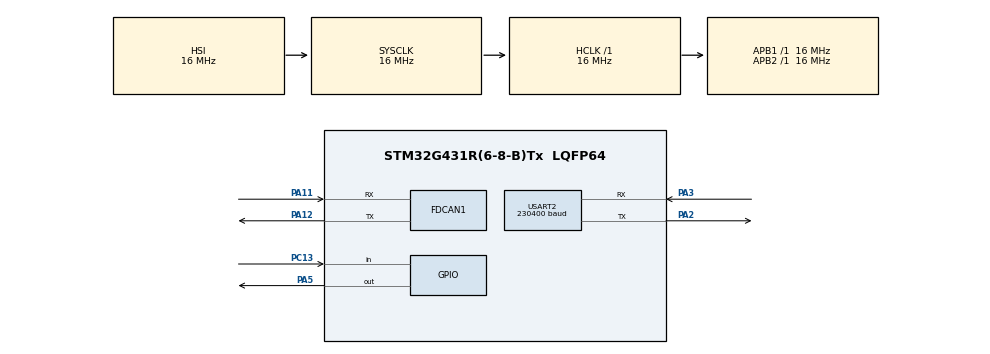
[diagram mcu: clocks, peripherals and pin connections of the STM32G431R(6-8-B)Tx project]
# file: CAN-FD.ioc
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FDCAN1.AutoRetransmission=DISABLE
FDCAN1.CalculateBaudRateNominal=500000
FDCAN1.CalculateTimeBitNominal=2000
FDCAN1.CalculateTimeQuantumNominal=62.5
FDCAN1.DataPrescaler=1
FDCAN1.DataSyncJumpWidth=3
FDCAN1.DataTimeSeg1=4
FDCAN1.DataTimeSeg2=3
FDCAN1.FrameFormat=FDCAN_FRAME_FD_BRS
FDCAN1.Mode=FDCAN_MODE_NORMAL
FDCAN1.NominalPrescaler=1
FDCAN1.NominalSyncJumpWidth=6
FDCAN1.NominalTimeSeg1=25
FDCAN1.NominalTimeSeg2=6
FDCAN1.ProtocolException=DISABLE
FDCAN1.StdFiltersNbr=1
FDCAN1.TransmitPause=DISABLE
FDCAN1.TxFifoQueueMode=FDCAN_TX_FIFO_OPERATION
Mcu.Family=STM32G4
Mcu.Name=STM32G431R(6-8-B)Tx
Mcu.Package=LQFP64
NVIC.FDCAN1_IT0_IRQn=true\:0\:0\:false\:false\:true\:true\:true\:true
NVIC.PriorityGroup=NVIC_PRIORITYGROUP_4
NVIC.USART2_IRQn=true\:0\:0\:false\:false\:true\:true\:true\:true
PA11.Mode=FDCAN_Activate
PA11.Signal=FDCAN1_RX
PA12.Mode=FDCAN_Activate
PA12.Signal=FDCAN1_TX
PA2.Mode=Asynchronous
PA2.Signal=USART2_TX
PA3.Mode=Asynchronous
PA3.Signal=USART2_RX
PA5.Signal=GPIO_Output
PC13.Signal=GPIO_Input
PF0-OSC_IN.Mode=HSE-External-Oscillator
PF0-OSC_IN.Signal=RCC_OSC_IN
PF1-OSC_OUT.Mode=HSE-External-Oscillator
PF1-OSC_OUT.Signal=RCC_OSC_OUT
ProjectManager.HeapSize=0x200
ProjectManager.StackSize=0x400
ProjectManager.TargetToolchain=STM32CubeIDE
RCC.ADC12Freq_Value=16000000
RCC.AHBFreq_Value=16000000
RCC.APB1Freq_Value=16000000
RCC.APB1TimFreq_Value=16000000
RCC.APB2Freq_Value=16000000
RCC.APB2TimFreq_Value=16000000
RCC.CortexFreq_Value=16000000
RCC.EXTERNAL_CLOCK_VALUE=12288000
RCC.HCLKFreq_Value=16000000
RCC.HSE_VALUE=24000000
RCC.HSI48_VALUE=48000000
RCC.HSI_VALUE=16000000
RCC.LSE_VALUE=32768
RCC.PLLQ=RCC_PLLQ_DIV4
RCC.RTCClockSelection=RCC_RTCCLKSOURCE_LSE
RCC.SYSCLKFreq_VALUE=16000000
RCC.USBFreq_Value=32000000
RCC.VCOOutputFreq_Value=128000000
USART2.BaudRate=230400
USART2.FIFOMode=FIFOMODE_ENABLE
USART2.VirtualMode-Asynchronous=VM_ASYNC
VP_SYS_VS_DBSignals.Mode=DisableDeadBatterySignals
board=NUCLEO-G431RB

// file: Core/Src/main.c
/* USER CODE BEGIN Header */
/**
  ******************************************************************************
  * @file           : main.c
  * @brief          : Main program body
  ******************************************************************************
  * @attention
  *
  * Copyright (c) 2025 STMicroelectronics.
  * All rights reserved.
  *
  * This software is licensed under terms that can be found in the LICENSE file
  * in the root directory of this software component.
  * If no LICENSE file comes with this software, it is provided AS-IS.
  *
  ******************************************************************************
  */
/* USER CODE END Header */
#include "main.h"

/* USER CODE BEGIN Includes */
#include <stdio.h>
#include <string.h>
#include <stdlib.h>
/* USER CODE END Includes */

FDCAN_HandleTypeDef hfdcan1;

UART_HandleTypeDef huart2;

/* USER CODE BEGIN PV */
//UART Variable
uint8_t* received_buffer = NULL ;  // Buffer de stockage
uint8_t received_data;
uint8_t my_index = 0;

// Variable TX_CANFD
FDCAN_FilterTypeDef sFilterConfig;
FDCAN_TxHeaderTypeDef TxHeader;
HAL_FDCAN_StateTypeDef myCanState;
HAL_StatusTypeDef myState;
#define MAX_TXDATA_SIZE 64

// variable FDCAN_RxFifo0Callback
uint8_t messageIndex = 0;
FDCAN_RxHeaderTypeDef RxHeader;
uint8_t RxData[64];
#define MAX_MESSAGES 2  // Taille maximale du tableau pour stocker les messages

// variable Process_Command
char param[20];
char value_str[50];  // Read the value as a string
int value = 0;
uint16_t temp_id;

//variable send_Frame
char id_str[4] = {0};
uint32_t Tx_identifier;

//variable pour Extract_Data_Until_CR
uint8_t TxData[MAX_TXDATA_SIZE] = {0};
char hex_pair[3] = {0};

//variable RX_identifier
char id_Rx[4] = {0};
uint32_t Rx_identifier;
char ID;
/* USER CODE END PV */

void SystemClock_Config(void);
static void MX_GPIO_Init(void);
static void MX_FDCAN1_Init(void);
static void MX_USART2_UART_Init(void);
/* USER CODE BEGIN PFP */
void Process_Command(char *command);
void UART_Send_Response(char *response);
void send_Frame(uint8_t *Frame);
void Extract_Data_Until_CR(uint8_t *Frame);
void SET_RXHeader(uint16_t ID);
/* USER CODE END PFP */

/* USER CODE BEGIN 0 */
// Structure pour stocker les messages reçus
typedef struct {
    uint16_t Identifier;  // Identifiant du message
    uint8_t Data[64];      // Données du message (8 octets)
} FDCAN_Message;
FDCAN_Message receivedMessages[MAX_MESSAGES];

/* USER CODE END 0 */

int main(void)
{

  /* MCU Configuration--------------------------------------------------------*/

  /* Reset of all peripherals, Initializes the Flash interface and the Systick. */
  HAL_Init();

  /* Configure the system clock */
  SystemClock_Config();

  /* Initialize all configured peripherals */
  MX_GPIO_Init();
  MX_FDCAN1_Init();
  MX_USART2_UART_Init();
  /* USER CODE BEGIN 2 */
  HAL_UART_Receive_IT(&huart2, &received_data, 1);
  myCanState = HAL_FDCAN_GetState(&hfdcan1);
  /* USER CODE END 2 */

  /* Infinite loop */
  while (1)
  {

  }
}

void SystemClock_Config(void)
{
  RCC_OscInitTypeDef RCC_OscInitStruct = {0};
  RCC_ClkInitTypeDef RCC_ClkInitStruct = {0};

  /** Configure the main internal regulator output voltage
  */
  HAL_PWREx_ControlVoltageScaling(PWR_REGULATOR_VOLTAGE_SCALE1);

  /** Initializes the RCC Oscillators according to the specified parameters
  * in the RCC_OscInitTypeDef structure.
  */
  RCC_OscInitStruct.OscillatorType = RCC_OSCILLATORTYPE_HSI;
  RCC_OscInitStruct.HSIState = RCC_HSI_ON;
  RCC_OscInitStruct.HSICalibrationValue = RCC_HSICALIBRATION_DEFAULT;
  RCC_OscInitStruct.PLL.PLLState = RCC_PLL_NONE;
  if (HAL_RCC_OscConfig(&RCC_OscInitStruct) != HAL_OK)
  {
    Error_Handler();
  }

  /** Initializes the CPU, AHB and APB buses clocks
  */
  RCC_ClkInitStruct.ClockType = RCC_CLOCKTYPE_HCLK|RCC_CLOCKTYPE_SYSCLK
                              |RCC_CLOCKTYPE_PCLK1|RCC_CLOCKTYPE_PCLK2;
  RCC_ClkInitStruct.SYSCLKSource = RCC_SYSCLKSOURCE_HSI;
  RCC_ClkInitStruct.AHBCLKDivider = RCC_SYSCLK_DIV1;
  RCC_ClkInitStruct.APB1CLKDivider = RCC_HCLK_DIV1;
  RCC_ClkInitStruct.APB2CLKDivider = RCC_HCLK_DIV1;

  if (HAL_RCC_ClockConfig(&RCC_ClkInitStruct, FLASH_LATENCY_0) != HAL_OK)
  {
    Error_Handler();
  }
}

static void MX_FDCAN1_Init(void)
{

  hfdcan1.Instance = FDCAN1;
  hfdcan1.Init.ClockDivider = FDCAN_CLOCK_DIV1;
  hfdcan1.Init.FrameFormat = FDCAN_FRAME_FD_BRS;
  hfdcan1.Init.Mode = FDCAN_MODE_NORMAL;
  hfdcan1.Init.AutoRetransmission = DISABLE;
  hfdcan1.Init.TransmitPause = DISABLE;
  hfdcan1.Init.ProtocolException = DISABLE;
  hfdcan1.Init.NominalPrescaler = 1;
  hfdcan1.Init.NominalSyncJumpWidth = 5;
  hfdcan1.Init.NominalTimeSeg1 = 24;
  hfdcan1.Init.NominalTimeSeg2 = 6;
  hfdcan1.Init.DataPrescaler = 1;
  hfdcan1.Init.DataSyncJumpWidth = 3;
  hfdcan1.Init.DataTimeSeg1 = 3;
  hfdcan1.Init.DataTimeSeg2 = 2;
  hfdcan1.Init.StdFiltersNbr = 1;
  hfdcan1.Init.ExtFiltersNbr = 0;
  hfdcan1.Init.TxFifoQueueMode = FDCAN_TX_FIFO_OPERATION;
  if (HAL_FDCAN_Init(&hfdcan1) != HAL_OK)
  {
    Error_Handler();
  }
  /* USER CODE BEGIN FDCAN1_Init 2 */

  TxHeader.Identifier = 0x7E2;  // ID de l'émetteur (STM32 avec ID 0x7E2)
  TxHeader.IdType = FDCAN_STANDARD_ID;
  TxHeader.TxFrameType = FDCAN_DATA_FRAME;
  TxHeader.DataLength = FDCAN_DLC_BYTES_64;  // DLC = 15 → 64 octets pour CAN FD
  TxHeader.ErrorStateIndicator = FDCAN_ESI_ACTIVE;
  TxHeader.BitRateSwitch = FDCAN_BRS_ON;  // Activation du Bit Rate Switching
  TxHeader.FDFormat = FDCAN_FD_CAN;
  TxHeader.TxEventFifoControl = FDCAN_NO_TX_EVENTS;
  TxHeader.MessageMarker = 0;

  /* Configure reception filter to Rx FIFO 0 on both FDCAN instances */
   sFilterConfig.IdType = FDCAN_STANDARD_ID;
   sFilterConfig.FilterIndex = 0;
   sFilterConfig.FilterType = FDCAN_FILTER_RANGE;
   sFilterConfig.FilterConfig = FDCAN_FILTER_TO_RXFIFO0;
   sFilterConfig.FilterID1 = 0x7EA;
   sFilterConfig.FilterID2 =  0x7FF;

   if(HAL_FDCAN_ConfigFilter(&hfdcan1, &sFilterConfig) != HAL_OK)
   	{
   		Error_Handler();
   	}

   	if(HAL_FDCAN_ConfigGlobalFilter(&hfdcan1, FDCAN_ACCEPT_IN_RX_FIFO0, FDCAN_REJECT, FDCAN_FILTER_REMOTE, FDCAN_FILTER_REMOTE) != HAL_OK)
   	{
   		Error_Handler();
   	}

   	if(HAL_FDCAN_Start(&hfdcan1) != HAL_OK)
   	{
   		Error_Handler();
   	}

   	//Cette ligne de code active une interruption qui se déclenchera lorsqu'un nouveau message est reçu dans RX FIFO0.
   	if(HAL_FDCAN_ActivateNotification(&hfdcan1, FDCAN_IT_RX_FIFO0_NEW_MESSAGE, 0) != HAL_OK)
   	{
   		Error_Handler();
   	}

  /* Activer l'interruption FDCAN dans le NVIC */
  HAL_NVIC_EnableIRQ(FDCAN1_IT0_IRQn);

  /* USER CODE END FDCAN1_Init 2 */

}

static void MX_USART2_UART_Init(void)
{

  huart2.Instance = USART2;
  huart2.Init.BaudRate = 230400;
  huart2.Init.WordLength = UART_WORDLENGTH_8B;
  huart2.Init.StopBits = UART_STOPBITS_1;
  huart2.Init.Parity = UART_PARITY_NONE;
  huart2.Init.Mode = UART_MODE_TX_RX;
  huart2.Init.HwFlowCtl = UART_HWCONTROL_NONE;
  huart2.Init.OverSampling = UART_OVERSAMPLING_16;
  huart2.Init.OneBitSampling = UART_ONE_BIT_SAMPLE_DISABLE;
  huart2.Init.ClockPrescaler = UART_PRESCALER_DIV1;
  huart2.AdvancedInit.AdvFeatureInit = UART_ADVFEATURE_NO_INIT;
  if (HAL_UART_Init(&huart2) != HAL_OK)
  {
    Error_Handler();
  }
  if (HAL_UARTEx_SetTxFifoThreshold(&huart2, UART_TXFIFO_THRESHOLD_1_8) != HAL_OK)
  {
    Error_Handler();
  }
  if (HAL_UARTEx_SetRxFifoThreshold(&huart2, UART_RXFIFO_THRESHOLD_1_8) != HAL_OK)
  {
    Error_Handler();
  }
  if (HAL_UARTEx_EnableFifoMode(&huart2) != HAL_OK)
  {
    Error_Handler();
  }

}

static void MX_GPIO_Init(void)
{
  GPIO_InitTypeDef GPIO_InitStruct = {0};

  /* GPIO Ports Clock Enable */
  __HAL_RCC_GPIOC_CLK_ENABLE();
  __HAL_RCC_GPIOF_CLK_ENABLE();
  __HAL_RCC_GPIOA_CLK_ENABLE();

  /*Configure GPIO pin Output Level */
  HAL_GPIO_WritePin(GPIOA, GPIO_PIN_5, GPIO_PIN_RESET);

  /*Configure GPIO pin : PC13 */
  GPIO_InitStruct.Pin = GPIO_PIN_13;
  GPIO_InitStruct.Mode = GPIO_MODE_INPUT;
  GPIO_InitStruct.Pull = GPIO_NOPULL;
  HAL_GPIO_Init(GPIOC, &GPIO_InitStruct);

  /*Configure GPIO pin : PA5 */
  GPIO_InitStruct.Pin = GPIO_PIN_5;
  GPIO_InitStruct.Mode = GPIO_MODE_OUTPUT_PP;
  GPIO_InitStruct.Pull = GPIO_NOPULL;
  GPIO_InitStruct.Speed = GPIO_SPEED_FREQ_LOW;
  HAL_GPIO_Init(GPIOA, &GPIO_InitStruct);

}

/* USER CODE BEGIN 4 */
void UART_Send_Response(char *response) {
    HAL_UART_Transmit(&huart2, (uint8_t*)response, strlen(response), HAL_MAX_DELAY);

}

void HAL_UART_RxCpltCallback(UART_HandleTypeDef *huart)
{
    if (huart->Instance == USART2)  // Vérifie que l'UART2 a reçu une donnée
    {
    	//Réallocation dynamique du buffer pour stocker la nouvelle donnée
    	        uint8_t* temp = (uint8_t*)realloc(received_buffer, my_index + 1);
    	        if (temp == NULL)  // Vérification de l'échec de l'allocation
    	        {
    	            HAL_UART_Transmit(&huart2, (uint8_t*)"Erreur mémoire\r\n", 16, HAL_MAX_DELAY);
    	            return;
    	        }
    	        received_buffer = temp;
        received_buffer[my_index++] = received_data;  // Stocker l'octet reçu
        // Vérifier si toute la trame est reçue
        if (received_data == '\r')
        {
        	if(received_buffer[0] == 'S')
        	{
        		 Process_Command((char*)received_buffer);
        		 myCanState = HAL_FDCAN_GetState(&hfdcan1);
        	}
        	else
        	{
        		send_Frame(received_buffer);
        		myCanState = HAL_FDCAN_GetState(&hfdcan1);
        	}

            // 5. Libérer la mémoire et réinitialiser les variables
            free(received_buffer);
            received_buffer = NULL;
            my_index = 0;
        }
        // Relancer la réception en interruption pour le prochain octet
        HAL_UART_Receive_IT(&huart2, &received_data, 1);
    }
}

void Process_Command(char *command) {
    // Lire "SET PARAM VALEUR"
        if (sscanf(command, "SET %s %s", param, value_str) == 2) {
            // Vérification si c'est un nombre hexadécimal
            if (value_str[0] == '0' && (value_str[1] == 'x' || value_str[1] == 'X')) {
                sscanf(value_str, "%x", &value);
            } else {
                sscanf(value_str, "%d", &value);
            }
        if(strcmp(param, "Init_CAN") == 0)
        		{
            		MX_FDCAN1_Init();
                    UART_Send_Response("OK");
                    return;
            	}
        else if (strcmp(param, "CLOCK_DIVIDER") == 0) {
                    switch (value) {
                        case 1: hfdcan1.Init.ClockDivider = FDCAN_CLOCK_DIV1; break;
                        case 2: hfdcan1.Init.ClockDivider = FDCAN_CLOCK_DIV2; break;
                        case 4: hfdcan1.Init.ClockDivider = FDCAN_CLOCK_DIV4; break;
                        case 6: hfdcan1.Init.ClockDivider = FDCAN_CLOCK_DIV6; break;
                        case 8: hfdcan1.Init.ClockDivider = FDCAN_CLOCK_DIV8; break;
                        case 10: hfdcan1.Init.ClockDivider = FDCAN_CLOCK_DIV10; break;
                        case 12: hfdcan1.Init.ClockDivider = FDCAN_CLOCK_DIV12; break;
                        case 14: hfdcan1.Init.ClockDivider = FDCAN_CLOCK_DIV14; break;
                        case 16: hfdcan1.Init.ClockDivider = FDCAN_CLOCK_DIV16; break;
                        case 18: hfdcan1.Init.ClockDivider = FDCAN_CLOCK_DIV18; break;
                        case 20: hfdcan1.Init.ClockDivider = FDCAN_CLOCK_DIV20; break;
                        case 22: hfdcan1.Init.ClockDivider = FDCAN_CLOCK_DIV22; break;
                        case 24: hfdcan1.Init.ClockDivider = FDCAN_CLOCK_DIV24; break;
                        case 26: hfdcan1.Init.ClockDivider = FDCAN_CLOCK_DIV26; break;
                        case 28: hfdcan1.Init.ClockDivider = FDCAN_CLOCK_DIV28; break;
                        case 30: hfdcan1.Init.ClockDivider = FDCAN_CLOCK_DIV30; break;
                        default: UART_Send_Response("Valeur invalide pour CLOCK_DIVIDER\r\n"); return;
                    }
                }
        else if (strcmp(param,"FRAME_FORMAT")==0){
        	if(value ==0) hfdcan1.Init.FrameFormat = FDCAN_FRAME_CLASSIC;
        	else if(value ==1) hfdcan1.Init.FrameFormat = FDCAN_FRAME_FD_NO_BRS;
        	else if(value ==2) hfdcan1.Init.FrameFormat = FDCAN_FRAME_FD_BRS;
        	else { UART_Send_Response("Valeur invalide pour FRAME_FORMAT\r\n"); return; }
        }
        else if (strcmp(param, "MODE") == 0) {
            if (value == 0) hfdcan1.Init.Mode = FDCAN_MODE_NORMAL;
            else if (value == 1) hfdcan1.Init.Mode = FDCAN_MODE_RESTRICTED_OPERATION;
            else if (value == 2) hfdcan1.Init.Mode = FDCAN_MODE_BUS_MONITORING;
            else if (value == 3) hfdcan1.Init.Mode = FDCAN_MODE_INTERNAL_LOOPBACK;
            else if (value == 4) hfdcan1.Init.Mode = FDCAN_MODE_EXTERNAL_LOOPBACK;
            else { UART_Send_Response("Valeur invalide pour MODE\r\n"); return; }
        }
        else if (strcmp(param, "AUTO_RETRANSMISSION") == 0) {
        	if (value == 0) hfdcan1.Init.AutoRetransmission = DISABLE;
        	else if (value == 1) hfdcan1.Init.AutoRetransmission = ENABLE;
        	else { UART_Send_Response("Valeur invalide pour AUTO_RETRANSMISSION\r\n"); return; }
        }
        else if (strcmp(param, "TRANSMIT_PAUSE") == 0) {
        	if (value == 0) hfdcan1.Init.TransmitPause = DISABLE;
        	else if (value == 1) hfdcan1.Init.TransmitPause = ENABLE;
        	else { UART_Send_Response("Valeur invalide pour TRANSMIT_PAUSE\r\n"); return; }
        }
        else if (strcmp(param, "PROTOCOL_EXCEPTION") == 0) {
        	if (value == 0) hfdcan1.Init.ProtocolException = DISABLE;
        	else if (value == 1) hfdcan1.Init.ProtocolException = ENABLE;
        	else { UART_Send_Response("Valeur invalide pour PROTOCOL_EXCEPTION\r\n"); return; }
        }
        else if (strcmp(param, "NOMINAL_PRESCALER") == 0) {
            hfdcan1.Init.NominalPrescaler = value;
        }
        else if (strcmp(param, "NOMINAL_SYNC_JW") == 0) {
            hfdcan1.Init.NominalSyncJumpWidth = value;
        }
        else if (strcmp(param, "NOMINAL_TIME_SEG1") == 0) {
            hfdcan1.Init.NominalTimeSeg1 = value;
        }
        else if (strcmp(param, "NOMINAL_TIME_SEG2") == 0) {
            hfdcan1.Init.NominalTimeSeg2 = value;
        }
        else if (strcmp(param, "DATA_PRESCALER") == 0) {
            hfdcan1.Init.DataPrescaler = value;
        }
        else if (strcmp(param, "DATA_TIM_SEG1") == 0) {
            hfdcan1.Init.DataTimeSeg1 = value;
        }
        else if (strcmp(param, "DATA_TIM_SEG2") == 0) {
            hfdcan1.Init.DataTimeSeg2 = value;
        }
        else if (strcmp(param, "DATA_SYNC_JW") == 0) {
            hfdcan1.Init.DataSyncJumpWidth = value;
        }
        else if (strcmp(param, "STD_FILTERS_NBR") == 0) {
            hfdcan1.Init.StdFiltersNbr = value;
        }
        else if (strcmp(param, "EXT_FILTERS_NBR") == 0) {
            hfdcan1.Init.ExtFiltersNbr = value;
        }
        else if (strcmp(param, "TX_FIFO_QUEUE_MODE") == 0) {
        	if (value == 0) hfdcan1.Init.TxFifoQueueMode = FDCAN_TX_FIFO_OPERATION;
        	else if (value == 1) hfdcan1.Init.TxFifoQueueMode = FDCAN_TX_QUEUE_OPERATION;
        	else { UART_Send_Response("Valeur invalide pour TX_FIFO_QUEUE_MOD\r\n"); return; }
        }
        else if (strcmp(param, "RxHeader_ID") == 0) {
                   if (sscanf(value_str, "%hx", &temp_id) == 1) {
                       SET_RXHeader(temp_id);}
                       else { UART_Send_Response("Valeur invalide pour RxHeader_ID\r\n"); return; }

               }
        else {
            UART_Send_Response("Parametre inconnu\r\n");
            return;
        }
     UART_Send_Response("OK");
    } else {
     UART_Send_Response("Format invalide\r\n");
     }

}

void SET_RXHeader(uint16_t ID)
{
sFilterConfig.FilterID1 = ID;

}

void send_Frame(uint8_t *Frame)
 {
//  Vérification de la longueur minimale avant extraction
	  if (strlen((char *)Frame) < 3) return;

// Extraire l'identifiant (3 caractères après 'F')
	  strncpy(id_str, (char *)&Frame[0], 3);
	  id_str[3] = '\0';  // Ajout d'un '\0' pour éviter les erreurs
//  Convertir en hexadécimal
	  if(sscanf(id_str, "%lx", &Tx_identifier) == 1)
	  {
		 TxHeader.Identifier = Tx_identifier;
		// UART_Send_Response("ID_OK\r\n");
	  }
	  else {
	          UART_Send_Response("Erreur_config_ID\r\n");
	          free(Frame);
	       }

	  Extract_Data_Until_CR(Frame);

 }

void Extract_Data_Until_CR(uint8_t *Frame)
{
    // Allocation du buffer temporaire pour stocker la chaîne
    char *Frame_str = (char *)malloc(256 * sizeof(char));
    if (Frame_str == NULL)
    {
        HAL_UART_Transmit(&huart2, (uint8_t*)"Erreur mémoire pour Frame_str\r\n", 30, HAL_MAX_DELAY);
        return;
    }
    // Trouver le '\r'
    char *end_pos = strchr((char *)Frame, '\r');
    if (end_pos)
    {
        int length = end_pos - (char *)&Frame[4];
        if (length > 0 && length < 256 && length %2 == 0)
        {
            // Copier la section de la trame dans Frame_str
            strncpy(Frame_str, (char *)&Frame[4], length);
            Frame_str[length] = '\0';  // Ajouter la fin de chaîne
            for (int i = 0; i < length / 2 && i < MAX_TXDATA_SIZE; i++)
            {
                strncpy(hex_pair, &Frame_str[i * 2], 2);  // Extraire 2 caractères
                hex_pair[2] = '\0';  // Assurer la terminaison de chaîne
                // Convertir la sous-chaîne hexadécimale en nombre
                TxData[i] = (uint8_t)strtol(hex_pair, NULL, 16);
            }
            // Ajouter le message à la FIFO de transmission du FDCAN;
            HAL_FDCAN_Init(&hfdcan1);
            HAL_FDCAN_Start(&hfdcan1);
            HAL_FDCAN_ActivateNotification(&hfdcan1, FDCAN_IT_RX_FIFO0_NEW_MESSAGE, 0);
            while (HAL_FDCAN_GetTxFifoFreeLevel(&hfdcan1) == 0);
            if((myState = HAL_FDCAN_AddMessageToTxFifoQ(&hfdcan1, &TxHeader, TxData)) != HAL_OK)
            {
            	UART_Send_Response("Error send Frame To SEG\r\n");
                // Libérer la mémoire allouée pour Frame_str
                free(Frame_str);
                return;
            }
            //UART_Send_Response("Frame Sent To SEG\r\n");
            free(Frame_str);
            return;
        }
    }
    // Libérer la mémoire allouée pour Frame_str
    free(Frame_str);
}

void UART_received_Response(FDCAN_Message receivedMessages[], uint8_t messageCount)
{
    char buffer[200]; // Adapter la taille selon le besoin
    for (int j = 0; j < messageCount; j++)
    {
        int offset = snprintf(buffer, sizeof(buffer), "ID: %03X Data: ", receivedMessages[j].Identifier);

        for (int i = 0; i < 64; i++)
        {
            offset += snprintf(buffer + offset, sizeof(buffer) - offset, "%02X ", receivedMessages[j].Data[i]);
        }

        snprintf(buffer + offset, sizeof(buffer) - offset, "\r\n");
        HAL_UART_Transmit(&huart2, (uint8_t *)buffer, strlen(buffer), HAL_MAX_DELAY);
    }
}

void HAL_FDCAN_RxFifo0Callback(FDCAN_HandleTypeDef *hfdcan, uint32_t RxFifo0ITs)
{
  if((RxFifo0ITs & FDCAN_IT_RX_FIFO0_NEW_MESSAGE) != RESET)
  {
    /* Retrieve Rx messages from RX FIFO0 */
    if (HAL_FDCAN_GetRxMessage(hfdcan, FDCAN_RX_FIFO0, &RxHeader, RxData) != HAL_OK)
    {
    Error_Handler();
    }
    /* Display LEDx */
    if ((RxHeader.IdType == FDCAN_STANDARD_ID) && (RxHeader.DataLength == FDCAN_DLC_BYTES_64))
    {
    	if(messageIndex < MAX_MESSAGES)
    	{
    		 receivedMessages[messageIndex].Identifier = RxHeader.Identifier;
    		 memcpy(receivedMessages[messageIndex].Data, RxData, 64);
    		 UART_received_Response(&receivedMessages[messageIndex], 1);
    		 messageIndex++;
    	}
    	if (messageIndex >= MAX_MESSAGES)
    	    {
    	        messageIndex = 0;  // Évite de réinitialiser trop tôt
    	    }

    }
  }
}

/* USER CODE END 4 */

void Error_Handler(void)
{
  __disable_irq();
  while (1)
  {
  }
}
